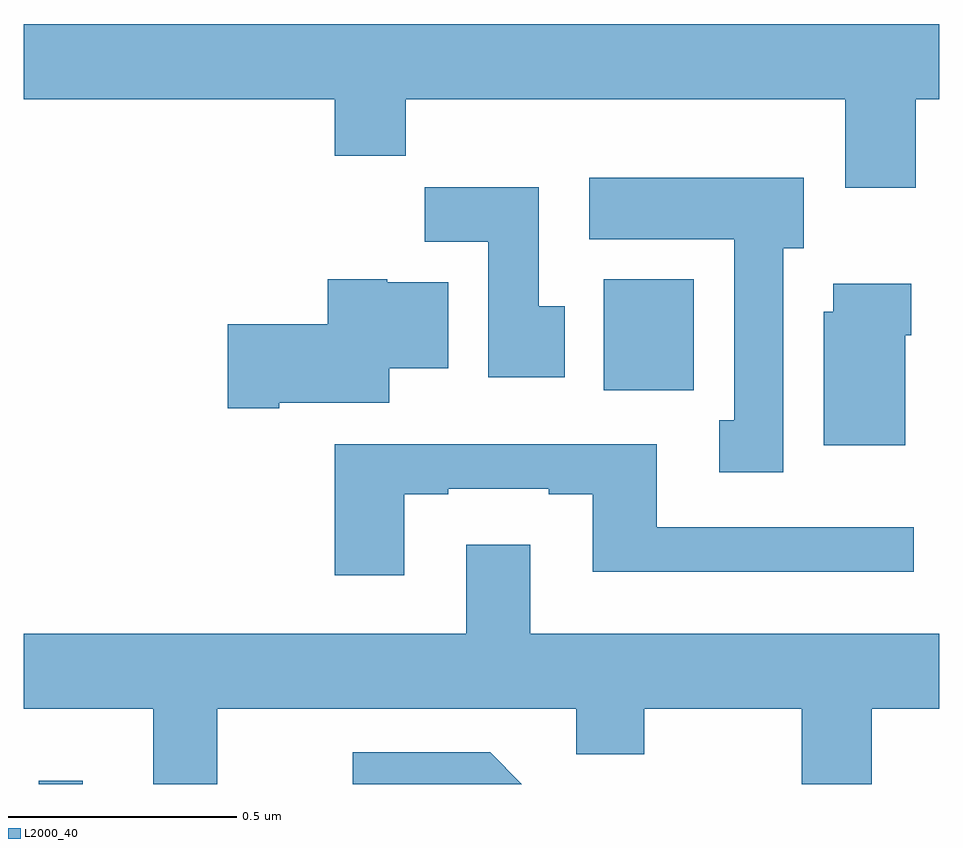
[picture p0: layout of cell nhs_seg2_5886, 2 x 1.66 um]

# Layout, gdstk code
import gdstk
lib = gdstk.Library(unit=1e-6, precision=1e-09)
def R(c, l, rs):  # rectangles x0, y0, x1, y1
    for r in rs: c.add(gdstk.rectangle(r[:2], r[2:], *l))
def P(c, l, *ps):  # polygons
    for p in ps: c.add(gdstk.Polygon(p, *l))
L2000_40 = (2000, 40)

nhs_seg2_5886 = lib.new_cell('nhs_seg2_5886')
R(nhs_seg2_5886, L2000_40, [(184.033,652.8,184.129,652.807), (185.267,653.66,185.464,653.902)])
P(nhs_seg2_5886, L2000_40, [(185.948,654.296),(186,654.296),(186,654.46),(184,654.46),(184,654.296),(184.679,654.296),(184.679,654.172),(184.835,654.172),(184.835,654.296),(185.795,654.296),(185.795,654.102),(185.948,654.102)],
  [(185.659,653.97),(185.704,653.97),(185.704,654.124),(185.235,654.124),(185.235,653.99),(185.552,653.99),(185.552,653.594),(185.519,653.594),(185.519,653.481),(185.659,653.481)],
  [(185.182,653.844),(185.125,653.844),(185.125,654.103),(184.876,654.103),(184.876,653.984),(185.015,653.984),(185.015,653.688),(185.182,653.688)],
  [(184.558,653.633),(184.798,653.633),(184.798,653.708),(184.927,653.708),(184.927,653.896),(184.794,653.896),(184.794,653.902),(184.664,653.902),(184.664,653.804),(184.446,653.804),(184.446,653.621),(184.558,653.621)],
  [(185.926,653.78),(185.939,653.78),(185.939,653.893),(185.768,653.893),(185.768,653.832),(185.747,653.832),(185.747,653.54),(185.926,653.54)],
  [(184.831,653.433),(184.927,653.433),(184.927,653.445),(185.147,653.445),(185.147,653.433),(185.243,653.433),(185.243,653.264),(185.944,653.264),(185.944,653.361),(185.383,653.361),(185.383,653.542),(184.679,653.542),(184.679,653.256),(184.831,653.256)],
  [(184.423,652.964),(185.207,652.964),(185.207,652.865),(185.355,652.865),(185.355,652.964),(185.699,652.964),(185.699,652.8),(185.852,652.8),(185.852,652.964),(186,652.964),(186,653.128),(185.107,653.128),(185.107,653.323),(184.967,653.323),(184.967,653.128),(184,653.128),(184,652.964),(184.283,652.964),(184.283,652.8),(184.423,652.8)],
  [(185.019,652.869),(184.719,652.869),(184.719,652.8),(185.088,652.8)])

lib.write_gds('nhs_seg2_5886.gds')
